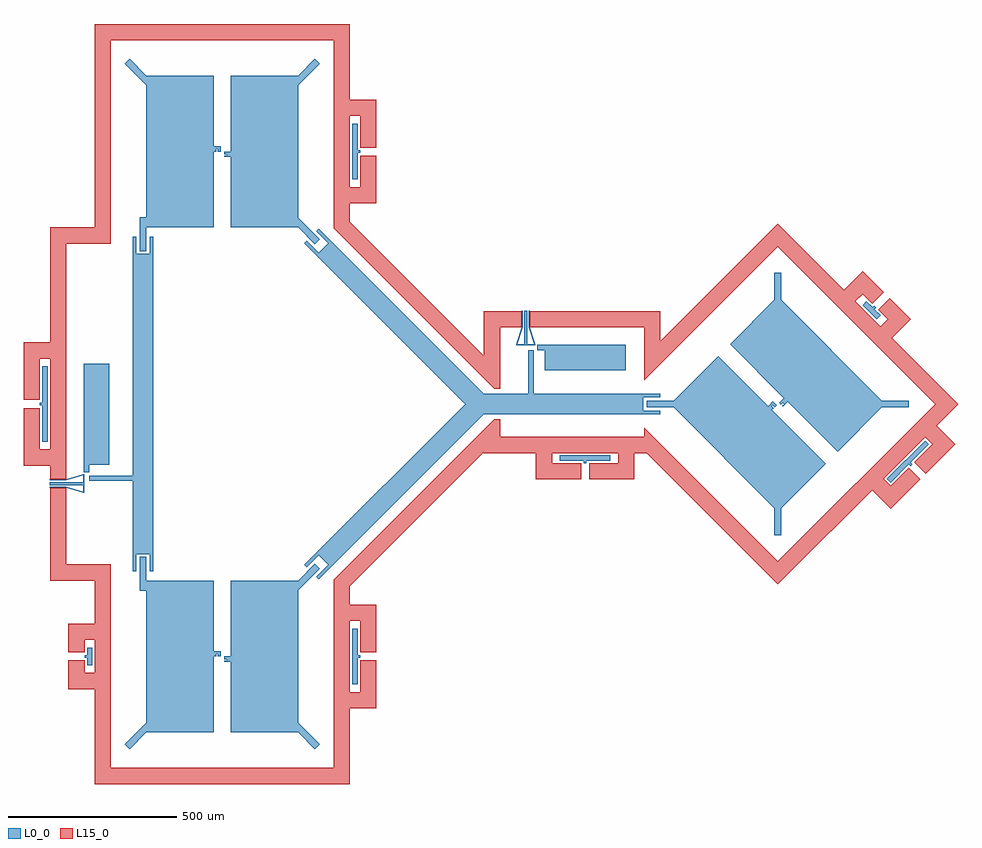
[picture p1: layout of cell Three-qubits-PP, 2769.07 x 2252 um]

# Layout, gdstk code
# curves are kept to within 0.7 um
import gdstk
lib = gdstk.Library(unit=1e-6, precision=1e-09)
def P(c, l, *ps):  # polygons
    for p in ps: c.add(gdstk.Polygon(p, *l))
L0_0 = (0, 0)
L15_0 = (15, 0)

three_qubits_pp = lib.new_cell('Three-qubits-PP')
P(three_qubits_pp, L0_0, [(3200.01,1995.5),(3200.01,1979.5),(3271,1979.5),(3271,1972.5),(3279,1972.5),(3279,1979.5),(3349.99,1979.5),(3349.99,1995.5)],
  [(3133,2323),(3133,2307),(3155,2307),(3155,2248),(3395,2248),(3395,2323)],
  [(3111.5,2375),(3111.5,2425),(3108.5,2425),(3108.5,2375),(3123.5,2325),(3103.5,2325),(3103.5,2425),(3094.5,2425),(3094.5,2325),(3074.5,2325),(3089.5,2375),(3089.5,2425),(3086.5,2425),(3086.5,2375),(3071.5,2325),(3071.5,2322),(3126.5,2322),(3126.5,2325)],
  [(3447,2128),(3447,2168),(3497,2168),(3497,2178),(3123,2178),(3123,2307),(3107,2307),(3107,2178),(2975,2178),(2485.682,2667.318),(2478.611,2660.247),(2513.966,2624.891),(2485.682,2596.607),(2450.327,2631.963),(2443.256,2624.891),(2920.148,2148),(2443.256,1671.109),(2450.327,1664.037),(2485.682,1699.393),(2513.966,1671.109),(2478.611,1635.753),(2485.682,1628.682),(2975,2118),(3497,2118),(3497,2128)],
  [(1666.5,2152),(1659.5,2152),(1659.5,2144),(1666.5,2144),(1666.5,2036.4),(1682.5,2036.4),(1682.5,2259.6),(1666.5,2259.6)],
  [(1790,1946),(1806,1946),(1806,1968),(1865,1968),(1865,2268),(1790,2268)],
  [(1738,1924.5),(1688,1924.5),(1688,1921.5),(1738,1921.5),(1788,1936.5),(1788,1916.5),(1688,1916.5),(1688,1907.5),(1788,1907.5),(1788,1887.5),(1738,1902.5),(1688,1902.5),(1688,1899.5),(1738,1899.5),(1788,1884.5),(1791,1884.5),(1791,1939.5),(1788,1939.5)],
  [(1985,2593),(1945,2593),(1945,2643),(1935,2643),(1935,1936),(1806,1936),(1806,1920),(1935,1920),(1935,1653),(1945,1653),(1945,1703),(1985,1703),(1985,1653),(1995,1653),(1995,2643),(1985,2643)],
  [(4239.858,1974.759),(4293.599,2028.499),(4282.285,2039.813),(4169.148,1926.676),(4180.462,1915.362),(4234.202,1969.102),(4239.151,1964.152),(4244.808,1969.809)],
  [(4132.378,2428.721),(4137.328,2433.671),(4131.671,2439.328),(4126.721,2434.378),(4108.563,2452.537),(4097.249,2441.223),(4139.223,2399.249),(4150.537,2410.563)],
  [(3856,1839.802),(3987.421,1971.223),(3828.322,2130.322),(3833.272,2135.272),(3827.615,2140.929),(3831.151,2144.464),(3836.808,2138.808),(3842.464,2144.464),(3831.151,2155.778),(3817.009,2141.636),(3669.223,2289.421),(3537.802,2158),(3457.802,2158.001),(3457.802,2137.999),(3537.802,2138),(3836,1839.802),(3835.999,1759.802),(3856.001,1759.802)],
  [(4234.198,2158.001),(4154.198,2158),(3856,2456.198),(3856.001,2536.198),(3835.999,2536.198),(3836,2456.198),(3704.579,2324.777),(3863.678,2165.678),(3849.536,2151.536),(3855.192,2145.879),(3860.849,2151.536),(3864.385,2148),(3858.728,2142.343),(3860.849,2140.222),(3874.991,2154.364),(4022.777,2006.579),(4154.198,2138),(4234.198,2137.999)],
  [(2601,2892),(2608,2892),(2608,2900),(2601,2900),(2601,2978.6),(2585,2978.6),(2585,2813.4),(2601,2813.4)],
  [(1975,2671),(2175,2671),(2175,2896),(2182,2896),(2182,2904),(2187,2904),(2187,2896),(2195,2896),(2195,2912),(2175,2912),(2175,3121),(1975,3121),(1925.503,3170.497),(1911.36,3156.355),(1975,3092.716),(1975,2701),(1955,2701),(1955,2601),(1975,2601)],
  [(2488.64,2635.645),(2425,2699.284),(2425,3092.716),(2488.64,3156.355),(2474.497,3170.497),(2425,3121),(2225,3121),(2225,2896),(2205,2896),(2205,2888),(2213,2888),(2213,2883),(2205,2883),(2205,2880),(2225,2880),(2225,2671),(2425,2671),(2474.497,2621.503)],
  [(1815,1425.9),(1799,1425.9),(1799,1404),(1792,1404),(1792,1396),(1799,1396),(1799,1374.1),(1815,1374.1)],
  [(2601,1396),(2608,1396),(2608,1404),(2601,1404),(2601,1482.6),(2585,1482.6),(2585,1317.4),(2601,1317.4)],
  [(2488.64,1139.645),(2425,1203.284),(2425,1596.716),(2488.64,1660.355),(2474.497,1674.497),(2425,1625),(2225,1625),(2225,1400),(2205,1400),(2205,1392),(2213,1392),(2213,1387),(2205,1387),(2205,1384),(2225,1384),(2225,1175),(2425,1175),(2474.497,1125.503)],
  [(1975,1175),(2175,1175),(2175,1400),(2182,1400),(2182,1408),(2187,1408),(2187,1400),(2195,1400),(2195,1416),(2175,1416),(2175,1625),(1975,1625),(1975,1695),(1955,1695),(1955,1595),(1975,1595),(1975,1203.284),(1911.36,1139.645),(1925.503,1125.503)])
P(three_qubits_pp, L15_0, [(3372.99,2002.5),(3372.99,1972.5),(3287,1972.5),(3287,1924.5),(3420.99,1924.5),(3420.99,2002.5)],
  [(3177.01,1972.5),(3177.01,2002.5),(3129.01,2002.5),(3129.01,1924.5),(3263,1924.5),(3263,1972.5)],
  [(1611.5,2160),(1659.5,2160),(1659.5,2282.6),(1689.5,2282.6),(1689.5,2330.6),(1611.5,2330.6)],
  [(1611.5,1965.4),(1689.5,1965.4),(1689.5,2013.4),(1659.5,2013.4),(1659.5,2136),(1611.5,2136)],
  [(4316.226,2083.653),(4282.285,2049.712),(4303.498,2028.499),(4250.465,1975.466),(4284.406,1941.525),(4371.38,2028.499)],
  [(4233.495,1958.495),(4180.462,1905.462),(4159.248,1926.676),(4125.307,1892.734),(4180.462,1837.58),(4267.436,1924.554)],
  [(4176.926,2461.955),(4142.985,2428.014),(4171.75,2399.249),(4150.537,2378.036),(4184.478,2344.095),(4239.632,2399.249)],
  [(4097.249,2541.632),(4042.095,2486.478),(4076.036,2452.537),(4097.249,2473.75),(4126.014,2444.985),(4159.955,2478.926)],
  [(2656,2884),(2608,2884),(2608,2790.4),(2578,2790.4),(2578,2742.4),(2656,2742.4)],
  [(2656,3049.6),(2578,3049.6),(2578,3001.6),(2608,3001.6),(2608,2908),(2656,2908)],
  [(1822,1351.1),(1792,1351.1),(1792,1388),(1744,1388),(1744,1303.1),(1822,1303.1)],
  [(2656,1388),(2608,1388),(2608,1294.4),(2578,1294.4),(2578,1246.4),(2656,1246.4)],
  [(1792,1448.9),(1822,1448.9),(1822,1496.9),(1744,1496.9),(1744,1412),(1792,1412)],
  [(2656,1553.6),(2578,1553.6),(2578,1505.6),(2608,1505.6),(2608,1412),(2656,1412)],
  [(2578,1607.863),(2975,2004.863),(2975,2002.5),(3456.927,2002.5),(3846,1613.427),(4380.573,2148),(3846,2682.573),(3498,2334.573),(3498,2423.5),(3111.5,2423.5),(3111.5,2375.5),(3450,2375.5),(3450,2218.69),(3846,2614.69),(4312.69,2148),(3846,1681.31),(3450,2077.31),(3450,2050.5),(3023,2050.5),(3023,2103),(3005.255,2103),(2530,1627.745),(2530,1070),(1870,1070),(1870,1673),(1737.5,1673),(1737.5,1899.5),(1689.5,1899.5),(1689.5,1625),(1822,1625),(1822,1022),(2578,1022)],
  [(1737.5,2623),(1870,2623),(1870,3226),(2530,3226),(2530,2668.255),(3005.255,2193),(3023,2193),(3023,2375.5),(3086.5,2375.5),(3086.5,2423.5),(2975,2423.5),(2975,2291.137),(2578,2688.137),(2578,3274),(1822,3274),(1822,2671),(1689.5,2671),(1689.5,1924.5),(1737.5,1924.5)])

lib.write_gds('Three-qubits-PP.gds')
